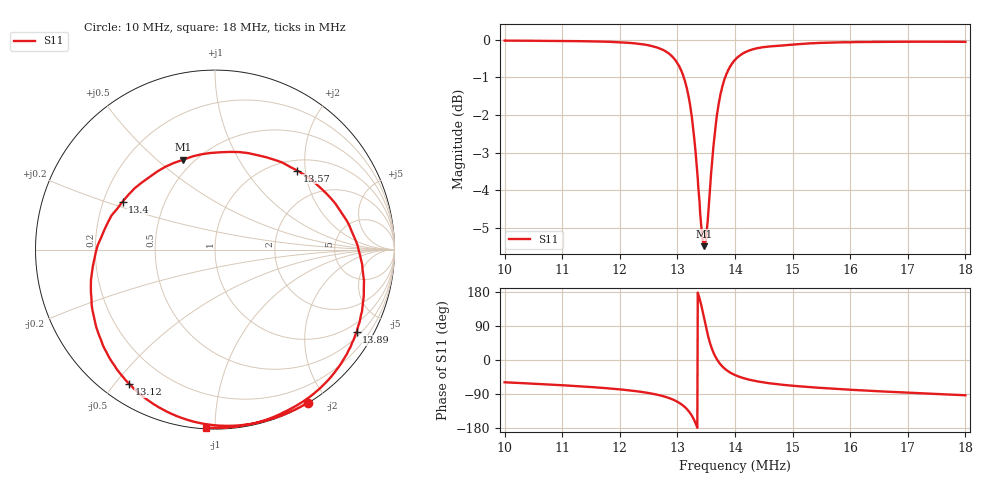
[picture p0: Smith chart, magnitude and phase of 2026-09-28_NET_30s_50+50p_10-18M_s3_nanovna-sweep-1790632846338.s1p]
! NanoVNA Web complex sweep
! Processing: unaveraged complex samples; linear segment spacing; no smoothing
# Hz S RI R 50
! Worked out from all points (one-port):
!   1010 points, 10 MHz to 18 MHz, reference 50 ohm
!   lowest |S11| = -5.5 dB at 13.46 MHz (marker M1), VSWR 3.27, Z = 21.9 + j30.6 ohm
!   |S11| at or under -10 dB: nowhere
!   S11 on the Smith chart (normalised r, x): 10 MHz: 0.01, -1.77; 13.12 MHz: 0.08, -0.55; 13.4 MHz: 0.28, +0.23; 13.57 MHz: 1.22, +1.81; 13.89 MHz: 0.65, -3.60; 18 MHz: 0.01, -0.95
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1e7  0.5161 -0.8535
1.100698e7  0.3947 -0.9147
1.200604e7  0.2131 -0.969
1.234698e7  0.1111 -0.981
1.261657e7  -0.00809 -0.9781
1.283065e7  -0.1518 -0.9491
1.300509e7  -0.3269 -0.8697
1.31161e7  -0.4768 -0.7495
1.321124e7  -0.6152 -0.5527
1.325089e7  -0.6623 -0.4296
1.329846e7  -0.6911 -0.2403
1.335397e7  -0.6531 0.0254
1.340154e7  -0.5148 0.2677
1.343326e7  -0.3647 0.4046
1.346497e7  -0.1772 0.5011
1.351255e7  0.136 0.5433
1.356805e7  0.4582 0.44
1.362355e7  0.6726 0.2538
1.368698e7  0.7944 0.0233
1.378213e7  0.8288 -0.2565
1.388521e7  0.7895 -0.4586
1.400414e7  0.7212 -0.6044
1.416272e7  0.6362 -0.7204
1.436888e7  0.546 -0.8062
1.50032e7  0.3698 -0.9133
1.600225e7  0.1989 -0.9717
1.700131e7  0.0654 -0.9917
1.800036e7  -0.0526 -0.9922
